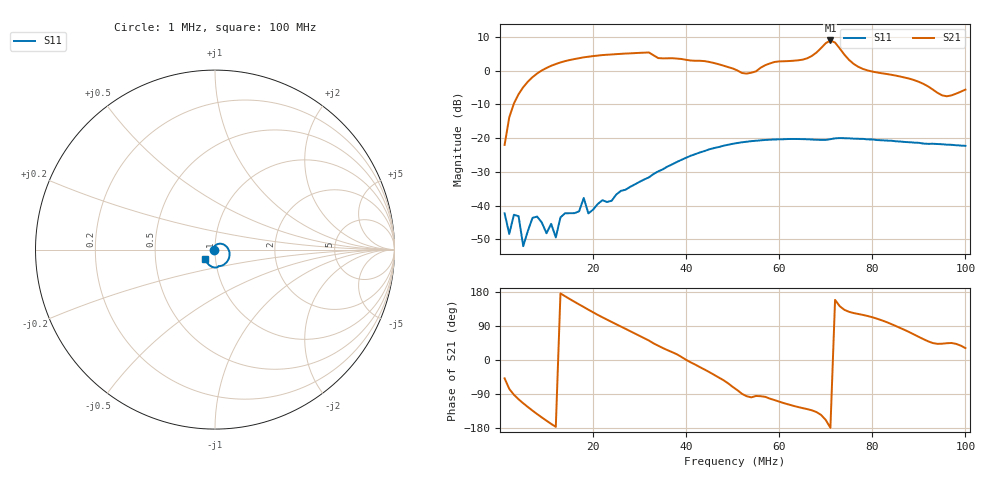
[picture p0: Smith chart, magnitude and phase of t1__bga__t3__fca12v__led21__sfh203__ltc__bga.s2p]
# HZ S RI R 50
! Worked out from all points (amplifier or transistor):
!   100 points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, 1 MHz to 100 MHz, reference 50 ohm
!   highest |S21| = 9.0 dB at 71 MHz (marker M1)
!   |S21| within 3 dB of that: 68.44 MHz to 73.34 MHz (4.905 MHz wide, 6.92 % of centre)
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1000001  -0.00766 -0.000239  0.0527 -0.0595  0 0  0 0
2000001  0.00144 -0.0035  0.0486 -0.1982  0 0  0 0
4000001  -0.00681 0.00142  -0.1059 -0.4365  0 0  0 0
5000001  0.00176 -0.00177  -0.2337 -0.5208  0 0  0 0
8000001  -0.00441 0.00525  -0.7279 -0.5515  0 0  0 0
1.2e7  -0.00314 0.00121  -1.257 -0.0792  0 0  0 0
1.8e7  -0.0129 0.00131  -1.212 1.022  0 0  0 0
1.9e7  -0.00661 0.00384  -1.098 1.187  0 0  0 0
2.7e7  -0.00312 0.0169  0.2462 1.784  0 0  0 0
3.2e7  0.0054 0.0256  1.168 1.461  0 0  0 0
3.4e7  0.012 0.0299  1.222 0.9427  0 0  0 0
4.3e7  0.0571 0.0229  1.33 -0.461  0 0  0 0
5.1e7  0.0812 -0.0242  0.1844 -0.9955  0 0  0 0
6.7e7  0.0273 -0.0915  -1.125 -1.219  0 0  0 0
6.9e7  0.0207 -0.092  -1.783 -1.249  0 0  0 0
7e7  0.0184 -0.0925  -2.387 -0.9494  0 0  0 0
7.1e7  0.0167 -0.0952  -2.819 -0.0509  0 0  0 0
7.2e7  0.0123 -0.0987  -2.442 0.955  0 0  0 0
7.3e7  0.00613 -0.1002  -1.692 1.322  0 0  0 0
7.6e7  -0.00865 -0.0981  -0.7043 1.05  0 0  0 0
8.4e7  -0.0334 -0.0855  -0.0796 0.871  0 0  0 0
1e8  -0.0542 -0.0545  0.4479 0.2739  0 0  0 0
